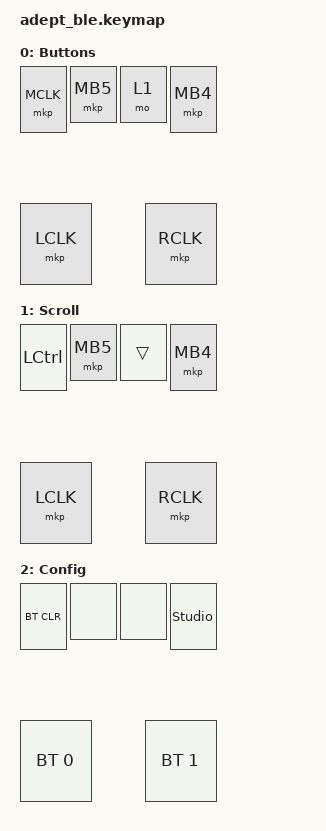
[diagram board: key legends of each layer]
/*
 * Adept BLE 键位表
 *
 * 出厂键位参照 Ploopy Adept 官方 QMK 默认键位
 * （QMK: keyboards/ploopyco/madromys/keymaps/default/keymap.c）
 *
 *   官方默认： LAYOUT( MS_BTN4, MS_BTN5, DRAG_SCROLL, MS_BTN2, MS_BTN1, MS_BTN3 )
 *   官方物理标签： Top Left Left / Top Left / Top Right / Top Right Right
 *                  / Bottom Left / Bottom Right
 *
 * 键位索引（从 0 开始，与 adept_ble.dtsi 的 kscan 顺序一一对应）：
 *   0 左上大    1 中左小    2 中右小    3 右上大
 *   4 左下(拇指) 5 右下(拇指)
 *
 * 层结构：
 *   第 0 层 Buttons   默认层
 *   第 1 层 Scroll    滚动层（中右小键按住进入；轨迹球变滚轮）
 *   第 2 层 Config    配置层（长按中左+中右进入；蓝牙与 Studio 管理）
 *
 * 每层绑定数量必须等于 transform 条目数（6）。
 *
 * SPDX-License-Identifier: MIT
 */

#include <behaviors.dtsi>
#include <dt-bindings/zmk/keys.h>
#include <dt-bindings/zmk/bt.h>
#include <dt-bindings/zmk/pointing.h>
#include <dt-bindings/zmk/outputs.h>

/* 里面定义了 zip_xy_to_scroll_mapper（滚动层要用） */
#include <input/processors.dtsi>

/ {
	keymap {
		compatible = "zmk,keymap";

		/* 第 0 层：默认层
		 *   0 左上大   &mkp MCLK  中键（滚轮按下）
		 *   1 中左小   &mkp MB5   前进
		 *   2 中右小   &mo 1      按住进入滚动层
		 *   3 右上大   &mkp MB4   后退 / 切换程序
		 *   4 左下     &mkp LCLK  左键
		 *   5 右下     &mkp RCLK  右键
		 */
		buttons_layer: buttons {
			display-name = "Buttons";
			bindings = <
				&mkp MCLK  &mkp MB5  &mo 1  &mkp MB4  &mkp LCLK  &mkp RCLK
			>;
		};

		/* 第 1 层：滚动层。
		 * 轨迹球在该层滚动而不是移动指针（见 adept_ble.dtsi 的 scroller 节点）。
		 *
		 *   0 左上大   &kp LCTRL  按住 = Ctrl 修饰键，用于「Ctrl + 滚轮」缩放
		 *   1 中左小   &mkp MB5   前进
		 *   2 中右小   &trans     透传：它就是按住进入本层的键，松开自动回第 0 层
		 *   3 右上大   &mkp MB4   后退
		 *   4 左下     &mkp LCLK  左键
		 *   5 右下     &mkp RCLK  右键
		 *
		 * 为什么把左上大键改成 Ctrl：
		 *   很多软件（浏览器、CAD、看图、Office）的缩放是 Ctrl + 滚轮，
		 *   单纯滚轮只会滚动画面。而 ZMK 的 input-processor 无法在滚动时
		 *   自动加修饰键（behaviors 处理器只响应按键类事件，不响应位移），
		 *   所以只能提供一个 Ctrl 键，由用户按住后滚动。
		 *
		 *   选左上大键的理由：本层的 中左小 / 中右小 两键同时按下是进入配置层
		 *   的组合键，不能占用；剩下四个键里，中键（滚轮按下）在滚动场景中
		 *   最不常用，牺牲它的影响最小。左中右三个点击键全部保留，
		 *   所以滚动时仍可正常点选、拖拽。
		 *
		 * 用法：按住中右小键进入滚动 → 再按住左上大键 → 滚球即缩放；
		 *       若只想普通滚动，不要按左上大键即可。 */
		scroll_layer: scroll {
			display-name = "Scroll";
			bindings = <
				&kp LCTRL  &mkp MB5  &trans  &mkp MB4  &mkp LCLK  &mkp RCLK
			>;
		};

		/* 第 2 层：配置层（长按中左+中右进入，松手退出）
		 *   0 左上大   &bt BT_CLR        清除当前信道的蓝牙配对信息
		 *   1 中左小   &none            空（它同时是进入本层的组合键）
		 *   2 中右小   &none            空（同上）
		 *   3 右上大   &studio_unlock   解锁 ZMK Studio
		 *   4 左下     &bt BT_SEL 0     切换信道 1
		 *   5 右下     &bt BT_SEL 1     切换信道 2
		 *
		 * 本工程只使用 2 个蓝牙信道（ZMK 默认 5 个，这里只开放前两个）。
		 * 中键用 &none 而不是 &trans：&trans 会穿透到第 0 层的 &mo 1，
		 * 松手时会误切滚动层。 */
		config_layer: config {
			display-name = "Config";
			bindings = <
				&bt BT_CLR  &none  &none  &studio_unlock  &bt BT_SEL 0  &bt BT_SEL 1
			>;
		};
	};
};
